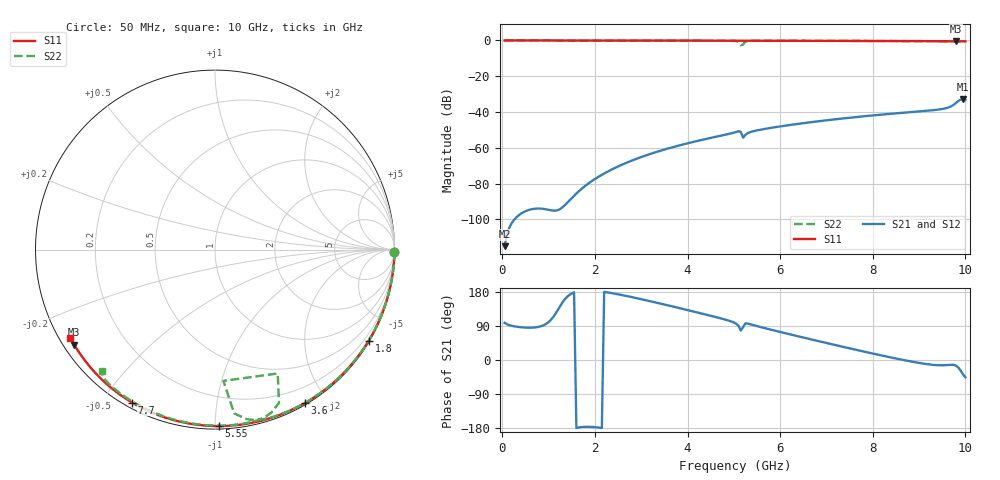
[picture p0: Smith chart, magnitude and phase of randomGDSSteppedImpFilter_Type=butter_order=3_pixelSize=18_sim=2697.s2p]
! freq	dB(S11)	phase(S11)	dB(S12)	phase(S12)
!  dB(S21)	phase(S21)	dB(S22)	phase(S22)
!S-par simulation data
#  GHz  S  DB  R 50
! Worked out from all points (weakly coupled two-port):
!   200 points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, 50 MHz to 10 GHz, reference 50 ohm
!   highest |S21| = -32.92 dB at 9.95 GHz (marker M1); lowest = -114.9 dB at 50 MHz (marker M2)
!   lowest |S11| = -0.5 dB at 9.8 GHz (marker M3), VSWR 36.48, Z = 1.5 - j15.3 ohm
!   |S11| at or under -10 dB: nowhere
!   |S22| runs from -2.7 to 0.0 dB; largest |S21 - S12| = 0
!   S11 on the Smith chart (normalised r, x): 50 MHz: open; 1.8 GHz: 0.03, -3.66; 3.6 GHz: 0.02, -1.74; 5.55 GHz: 0.02, -1.02; 7.7 GHz: 0.02, -0.60; 10 GHz: 0.03, -0.28
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0.05  -0.00 -0.9  -114.93 98.1  -114.93 98.1  -0.00 -0.8
1.75  -0.04 -29.8  -82.09 -176.5  -82.09 -176.5  -0.03 -26.8
1.8  -0.04 -30.6  -81.06 -176.2  -81.06 -176.2  -0.03 -27.5
2.6  -0.06 -43.7  -69.23 171.0  -69.23 171.0  -0.05 -39.4
3.4  -0.07 -56.5  -61.73 149.3  -61.73 149.3  -0.07 -51.1
3.6  -0.08 -59.6  -60.21 143.5  -60.21 143.5  -0.07 -54.0
4.7  -0.11 -76.4  -53.33 110.4  -53.33 110.4  -0.12 -70.4
5.05  -0.12 -81.5  -51.13 96.0  -51.13 96.0  -0.35 -79.5
5.1  -0.13 -82.3  -50.71 90.5  -50.71 90.5  -0.74 -83.3
5.15  -0.13 -83.0  -51.08 77.6  -51.08 77.6  -2.70 -86.4
5.2  -0.13 -83.7  -54.32 86.9  -54.32 86.9  -2.23 -63.1
5.25  -0.13 -84.5  -52.72 96.9  -52.72 96.9  -0.68 -67.3
5.3  -0.13 -85.2  -51.79 96.1  -51.79 96.1  -0.35 -70.8
5.55  -0.15 -88.8  -49.98 87.8  -49.98 87.8  -0.16 -77.8
6.7  -0.20 -104.9  -45.55 53.5  -45.55 53.5  -0.19 -94.1
7.7  -0.27 -118.4  -42.65 25.2  -42.65 25.2  -0.24 -106.5
8.35  -0.33 -127.0  -41.06 7.8  -41.06 7.8  -0.29 -114.4
9.5  -0.45 -142.1  -38.31 -14.0  -38.31 -14.0  -0.42 -128.3
9.65  -0.46 -144.1  -37.29 -13.0  -37.29 -13.0  -0.46 -130.4
9.8  -0.48 -146.0  -34.86 -15.0  -34.86 -15.0  -0.59 -132.4
9.95  -0.47 -148.0  -32.92 -38.1  -32.92 -38.1  -0.72 -132.8
10  -0.47 -148.7  -33.28 -45.7  -33.28 -45.7  -0.68 -133.0
